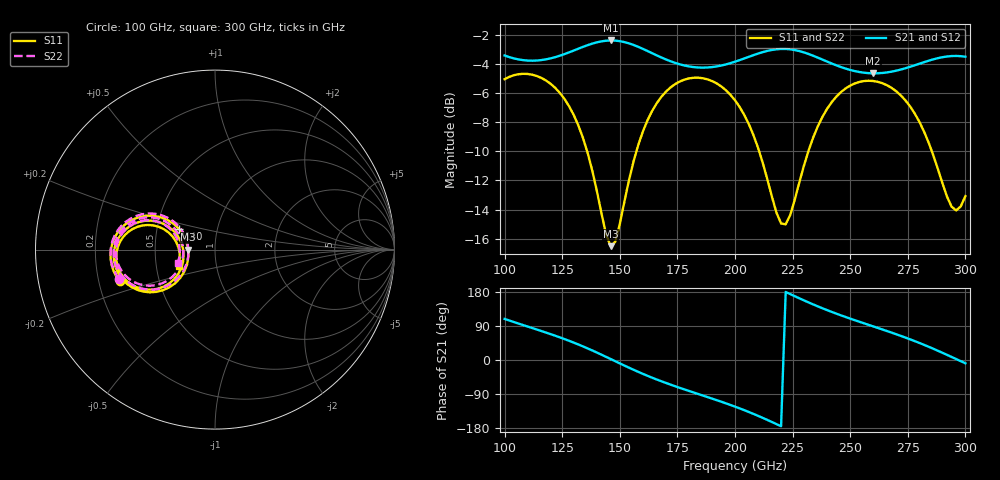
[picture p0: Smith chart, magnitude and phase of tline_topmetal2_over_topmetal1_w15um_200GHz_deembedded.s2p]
! Created with skrf 2.0.1 (http://scikit-rf.org).
# GHz S DB R 50.0
!freq dBS11 angS11 dBS21 angS21 dBS12 angS12 dBS22 angS22
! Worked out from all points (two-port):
!   101 points, 100 GHz to 300 GHz, reference 50 ohm
!   highest |S21| = -2.39 dB at 146 GHz (marker M1); lowest = -4.6 dB at 260 GHz (marker M2)
!   |S21| within 3 dB of the highest: start of sweep to end of sweep
!   lowest |S11| = -16.5 dB at 146 GHz (marker M3), VSWR 1.35, Z = 37 + j0.0287 ohm
!   |S11| at or under -10 dB: 135.8 GHz to 157.2 GHz (21.41 GHz wide, 14.6 % of centre); 210.5 GHz to 231.8 GHz (21.37 GHz wide, 9.66 % of centre); 285.4 GHz to end of sweep
!   |S22| runs from -16.6 to -4.7 dB; largest |S21 - S12| = 7.2e-14
!   S11 on the Smith chart (normalised r, x): 100 GHz: 0.29, -0.15; 140 GHz: 0.65, +0.16; 300 GHz: 0.65, -0.12
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100  -5.05 -161.5  -3.42 108.4  -3.42 108.4  -5.05 -163.0
108  -4.68 -174.2  -3.74 92.2  -3.74 92.2  -4.68 -175.7
116  -4.96 173.7  -3.73 76.4  -3.73 76.4  -4.97 171.9
126  -6.41 158.8  -3.32 55.2  -3.32 55.2  -6.42 156.9
134  -9.08 149.2  -2.83 35.9  -2.83 35.9  -9.09 147.1
140  -12.69 150.1  -2.52 19.8  -2.52 19.8  -12.72 147.9
146  -16.52 179.9  -2.39 2.6  -2.39 2.6  -16.57 177.7
148  -16.22 -163.9  -2.40 -3.2  -2.40 -3.2  -16.27 -165.9
158  -9.57 -140.5  -2.83 -31.3  -2.83 -31.3  -9.59 -142.7
168  -6.27 -152.4  -3.55 -56.0  -3.55 -56.0  -6.28 -154.7
184  -4.95 -175.6  -4.24 -89.7  -4.24 -89.7  -4.95 -178.2
200  -6.50 162.4  -3.85 -123.1  -3.85 -123.1  -6.50 159.5
210  -9.76 153.4  -3.29 -147.3  -3.29 -147.3  -9.77 150.5
220  -14.96 177.9  -2.97 -174.8  -2.97 -174.8  -14.96 174.8
224  -14.37 -158.8  -3.00 173.8  -3.00 173.8  -14.37 -162.0
234  -9.03 -144.2  -3.44 146.5  -3.44 146.5  -9.03 -147.6
246  -5.93 -157.4  -4.21 117.8  -4.21 117.8  -5.94 -161.0
260  -5.17 -176.2  -4.64 88.7  -4.64 88.7  -5.18 180.0
268  -5.65 173.3  -4.53 72.2  -4.53 72.2  -5.66 169.4
284  -9.39 158.0  -3.78 35.1  -3.78 35.1  -9.42 153.7
294  -13.80 176.6  -3.46 8.1  -3.46 8.1  -13.89 172.3
300  -13.08 -156.4  -3.50 -8.7  -3.50 -8.7  -13.15 -160.4
